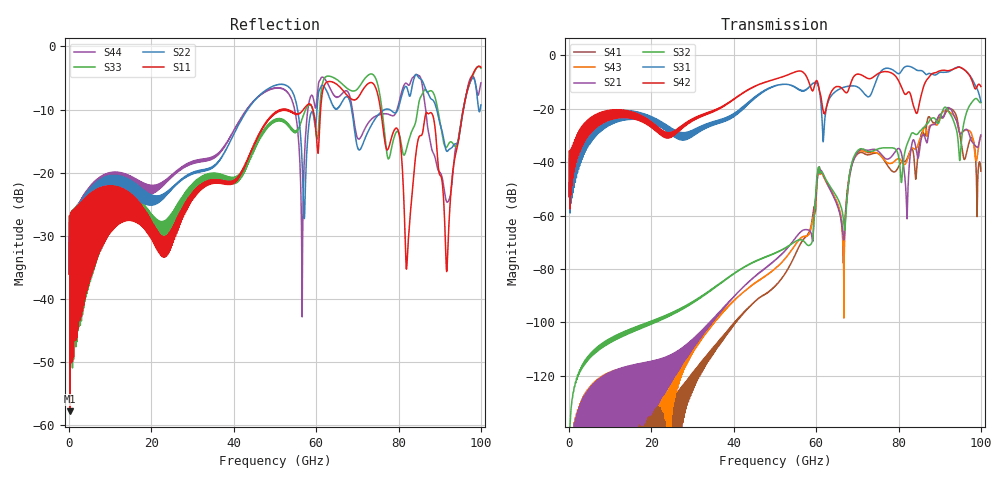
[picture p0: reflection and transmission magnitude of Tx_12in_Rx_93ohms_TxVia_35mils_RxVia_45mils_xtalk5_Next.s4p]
! Info: Touchstone file created by Circ.  Input file=Tx_12in_Rx_93ohms_TxVia_35mils_RxVia_45mils.circ
# Hz S RI R 50
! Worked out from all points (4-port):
!   10000 points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, 10 MHz to 100 GHz, reference 50 ohm
!   strongest paths, dB at 10 MHz, 25.01 GHz, 50.01 GHz, 75.01 GHz, 100 GHz:
!     S42: -52.9, -30.2, -8.9, -6.9, -11.7
!     S31: -52.9, -28.5, -11.5, -7.9, -17.3
!     S32: -162.4, -97.1, -74.0, -35.0, -17.7
!     S21: -175.9, -118.9, -76.6, -35.8, -29.8
!     S43: -175.8, -133.0, -79.8, -36.7, -30.2
!     S41: -181.5, -128.0, -86.4, -36.8, -43.4
!   lowest |S11| = -57.8 dB at 270 MHz (marker M1), VSWR 1.00, Z = 49.9 + j0.00131 ohm
!   |S11| at or under -10 dB: start of sweep to 51.38 GHz; 53.05 GHz to 56.87 GHz (3.818 GHz wide, 6.95 % of centre); 75.64 GHz to 95.73 GHz (20.09 GHz wide, 23.4 % of centre) (the widest 3 of 10)
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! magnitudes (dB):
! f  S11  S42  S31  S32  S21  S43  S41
! 10 MHz  -36.1  -52.9  -52.9  -162.4  -175.9  -175.8  -181.5
! 270 MHz  -57.8  -44.2  -44.2  -137.5  -151.4  -151.3  -157.7
! 58.37 GHz  -9.1  -10.7  -11.7  -71.1  -65.6  -66.7  -65.9
! 60.76 GHz  -13.9  -13.0  -13.0  -42.0  -41.7  -42.2  -42.1
! 66.62 GHz  -7.1  -13.0  -12.0  -61.2  -68.9  -73.1  -77.8
! 91.74 GHz  -35.5  -5.8  -6.3  -20.0  -19.8  -20.6  -20.6
! 100 GHz  -3.3  -11.7  -17.3  -17.7  -29.8  -30.2  -43.4
